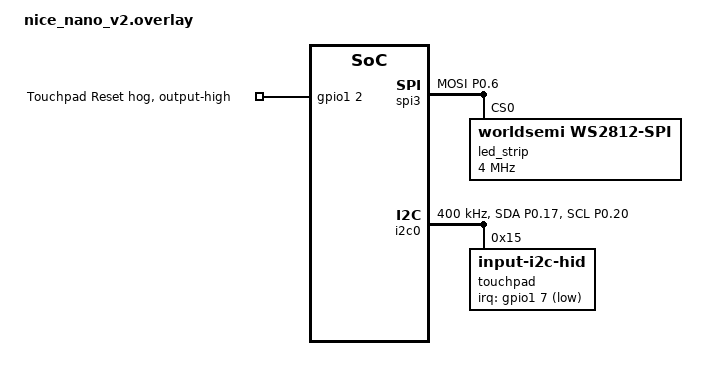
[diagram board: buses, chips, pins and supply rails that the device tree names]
#include <dt-bindings/led/led.h>

&pinctrl {
    spi3_default: spi3_default {
        group1 {
            psels = <NRF_PSEL(SPIM_MOSI, 0, 6)>;
        };
    };

    spi3_sleep: spi3_sleep {
        group1 {
            psels = <NRF_PSEL(SPIM_MOSI, 0, 6)>;
            low-power-enable;
        };
    };

    i2c0_default: i2c0_default {
        group1 {
            // Reemplaza 0, 17 y 0, 20 por los pines reales de tu SDA y SCL
            psels = <NRF_PSEL(TWIM_SDA, 0, 17)>, 
                    <NRF_PSEL(TWIM_SCL, 0, 20)>;
        };
    };
};

&spi3 {
    compatible = "nordic,nrf-spim";
    status = "okay";

    pinctrl-0 = <&spi3_default>;
    pinctrl-1 = <&spi3_sleep>;
    pinctrl-names = "default", "sleep";

    led_strip: ws2812@0 {
        compatible = "worldsemi,ws2812-spi";

        /* SPI */
        reg = <0>; /* ignored, but necessary for SPI bindings */
        spi-max-frequency = <4000000>;

        /* WS2812 */
        chain-length = <10>; /* arbitrary; change at will */
        spi-one-frame = <0x70>;
        spi-zero-frame = <0x40>;

        color-mapping = <LED_COLOR_ID_GREEN LED_COLOR_ID_RED LED_COLOR_ID_BLUE>;
    };
};

&i2c0 {
    status = "okay";
    compatible = "nordic,nrf-twim";
    pinctrl-0 = <&i2c0_default>;
    pinctrl-names = "default";
    clock-frequency = <I2C_BITRATE_FAST>; // 400kHz para I2C-HID

    touchpad: touchpad@15 {
        compatible = "zmk,input-i2c-hid"; 
        reg = <0x15>; // La dirección que obtuviste en el escáner
        
        // Pin INT configurado como activo en BAJO
        irq-gpios = <&gpio1 7 (GPIO_ACTIVE_LOW | GPIO_PULL_UP)>; 
    };
};

&gpio1 {
    touchpad_rst {
        gpio-hog;
        gpios = <2 GPIO_ACTIVE_HIGH>;
        output-high;
        line-name = "Touchpad Reset";
    };
};

/ {
    chosen {
        zmk,underglow = &led_strip;
    };
};
// vim: filetype=dts fdm=marker:
